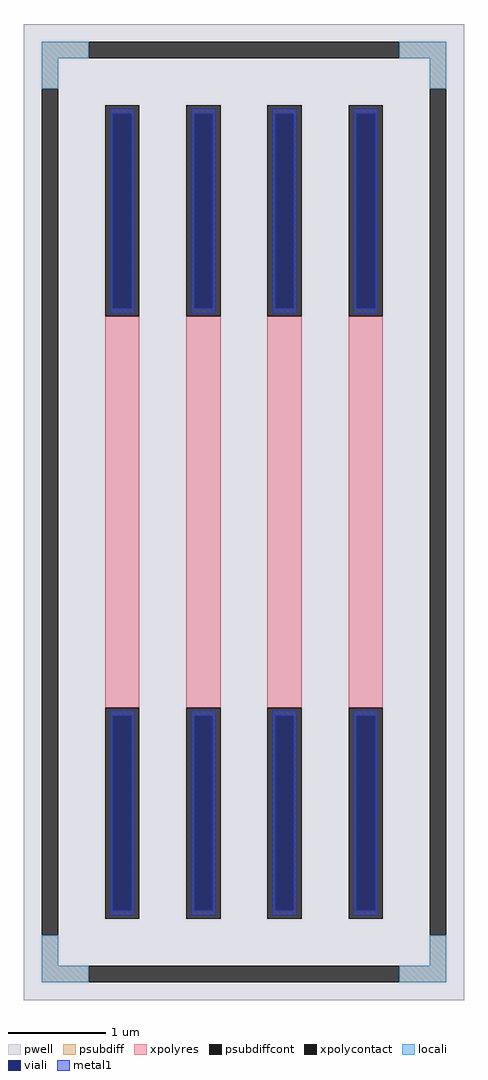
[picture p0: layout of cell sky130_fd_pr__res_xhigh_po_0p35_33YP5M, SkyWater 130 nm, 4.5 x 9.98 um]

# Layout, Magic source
magic
tech sky130A
magscale 1 2
<< pwell >>
rect -450 -998 450 998
<< psubdiff >>
rect -414 928 -318 962
rect 318 928 414 962
rect -414 866 -380 928
rect 380 866 414 928
rect -414 -928 -380 -866
rect 380 -928 414 -866
rect -414 -962 -318 -928
rect 318 -962 414 -928
<< psubdiffcont >>
rect -318 928 318 962
rect -414 -866 -380 866
rect 380 -866 414 866
rect -318 -962 318 -928
<< xpolycontact >>
rect -284 400 -214 832
rect -284 -832 -214 -400
rect -118 400 -48 832
rect -118 -832 -48 -400
rect 48 400 118 832
rect 48 -832 118 -400
rect 214 400 284 832
rect 214 -832 284 -400
<< xpolyres >>
rect -284 -400 -214 400
rect -118 -400 -48 400
rect 48 -400 118 400
rect 214 -400 284 400
<< locali >>
rect -414 928 -318 962
rect 318 928 414 962
rect -414 866 -380 928
rect 380 866 414 928
rect -414 -928 -380 -866
rect 380 -928 414 -866
rect -414 -962 -318 -928
rect 318 -962 414 -928
<< viali >>
rect -268 417 -230 814
rect -102 417 -64 814
rect 64 417 102 814
rect 230 417 268 814
rect -268 -814 -230 -417
rect -102 -814 -64 -417
rect 64 -814 102 -417
rect 230 -814 268 -417
<< metal1 >>
rect -274 814 -224 826
rect -274 417 -268 814
rect -230 417 -224 814
rect -274 405 -224 417
rect -108 814 -58 826
rect -108 417 -102 814
rect -64 417 -58 814
rect -108 405 -58 417
rect 58 814 108 826
rect 58 417 64 814
rect 102 417 108 814
rect 58 405 108 417
rect 224 814 274 826
rect 224 417 230 814
rect 268 417 274 814
rect 224 405 274 417
rect -274 -417 -224 -405
rect -274 -814 -268 -417
rect -230 -814 -224 -417
rect -274 -826 -224 -814
rect -108 -417 -58 -405
rect -108 -814 -102 -417
rect -64 -814 -58 -417
rect -108 -826 -58 -814
rect 58 -417 108 -405
rect 58 -814 64 -417
rect 102 -814 108 -417
rect 58 -826 108 -814
rect 224 -417 274 -405
rect 224 -814 230 -417
rect 268 -814 274 -417
rect 224 -826 274 -814
<< properties >>
string FIXED_BBOX -397 -945 397 945
string gencell sky130_fd_pr__res_xhigh_po_0p35
string library sky130
string parameters w 0.35 l 4.16 m 1 nx 4 wmin 0.350 lmin 0.50 rho 2000 val 24.846k dummy 0 dw 0.0 term 188.2 sterm 0.0 caplen 0 wmax 0.350 guard 1 glc 1 grc 1 gtc 1 gbc 1 compatible {sky130_fd_pr__res_xhigh_po_0p35  sky130_fd_pr__res_xhigh_po_0p69 sky130_fd_pr__res_xhigh_po_1p41  sky130_fd_pr__res_xhigh_po_2p85 sky130_fd_pr__res_xhigh_po_5p73} snake 0 full_metal 1 n_guard 0 hv_guard 0 vias 1 viagb 0 viagt 0 viagl 0 viagr 0
<< end >>
